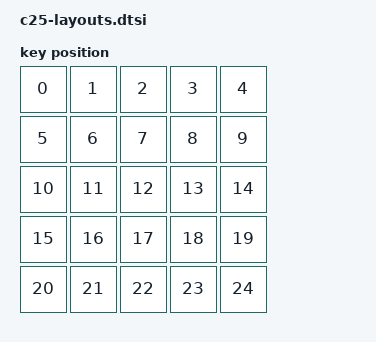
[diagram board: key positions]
#include <physical_layouts.dtsi>

/ {
    physical_layout0: physical_layout_0 {
        compatible = "zmk,physical-layout";
        display-name = "Keypad c25";

        keys  //                     w   h    x    y     rot    rx    ry
            = <&key_physical_attrs 100 100    0    0       0     0     0>
            , <&key_physical_attrs 100 100  100    0       0     0     0>
            , <&key_physical_attrs 100 100  200    0       0     0     0>
            , <&key_physical_attrs 100 100  300    0       0     0     0>
            , <&key_physical_attrs 100 100  400    0       0     0     0>
            , <&key_physical_attrs 100 100    0  100       0     0     0>
            , <&key_physical_attrs 100 100  100  100       0     0     0>
            , <&key_physical_attrs 100 100  200  100       0     0     0>
            , <&key_physical_attrs 100 100  300  100       0     0     0>
            , <&key_physical_attrs 100 100  400  100       0     0     0>
            , <&key_physical_attrs 100 100    0  200       0     0     0>
            , <&key_physical_attrs 100 100  100  200       0     0     0>
            , <&key_physical_attrs 100 100  200  200       0     0     0>
            , <&key_physical_attrs 100 100  300  200       0     0     0>
            , <&key_physical_attrs 100 100  400  200       0     0     0>
            , <&key_physical_attrs 100 100    0  300       0     0     0>
            , <&key_physical_attrs 100 100  100  300       0     0     0>
            , <&key_physical_attrs 100 100  200  300       0     0     0>
            , <&key_physical_attrs 100 100  300  300       0     0     0>
            , <&key_physical_attrs 100 100  400  300       0     0     0>
            , <&key_physical_attrs 100 100    0  400       0     0     0>
            , <&key_physical_attrs 100 100  100  400       0     0     0>
            , <&key_physical_attrs 100 100  200  400       0     0     0>
            , <&key_physical_attrs 100 100  300  400       0     0     0>
            , <&key_physical_attrs 100 100  400  400       0     0     0>
            ;
    };
};


/ {
    position_map {
        compatible = "zmk,physical-layout-position-map";
        complete;

        macropad_map: macropad {
            physical-layout = <&physical_layout0>;
            positions
                = < 0  1  2  3 4>
                , < 5  6  7 8 9>
                , <10  11 12 13 14>
                , <15 16 17 18 19>
                , <20 21 22 23 24>;
        };
    };
};
